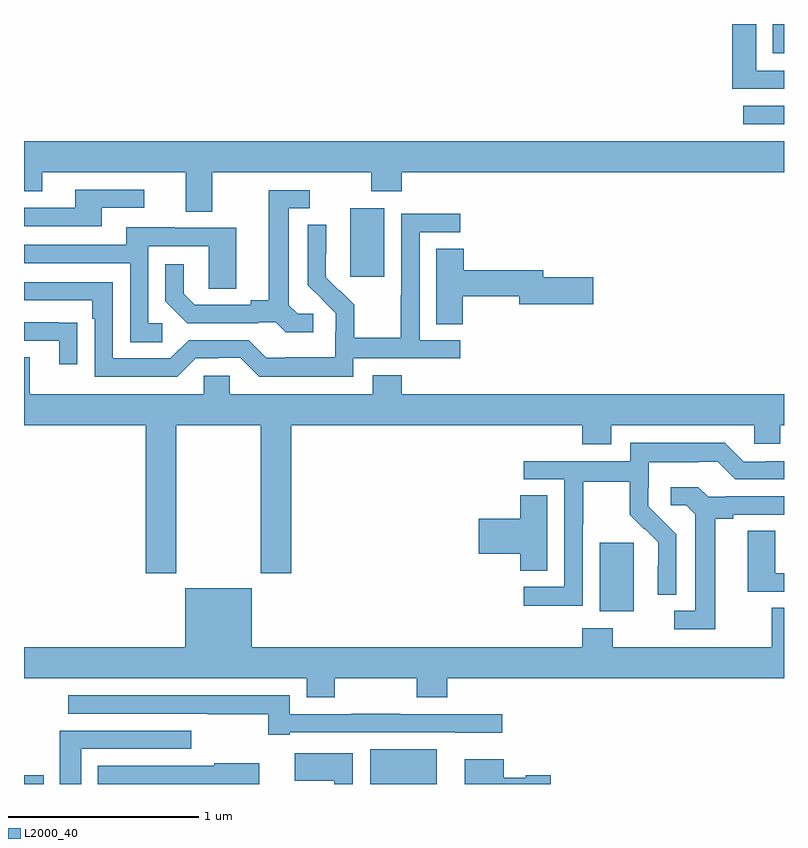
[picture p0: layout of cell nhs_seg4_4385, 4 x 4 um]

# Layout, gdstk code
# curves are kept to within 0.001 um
import gdstk
lib = gdstk.Library(unit=1e-6, precision=1e-09)
def R(c, l, rs):  # rectangles x0, y0, x1, y1
    for r in rs: c.add(gdstk.rectangle(r[:2], r[2:], *l))
def P(c, l, *ps):  # polygons
    for p in ps: c.add(gdstk.Polygon(p, *l))
L2000_40 = (2000, 40)

nhs_seg4_4385 = lib.new_cell('nhs_seg4_4385')
R(nhs_seg4_4385, L2000_40, [(345,826.9,345.103,826.946), (346.823,826.9,347.173,827.083), (348.029,827.81,348.208,828.171), (346.718,829.569,346.897,829.93), (348.786,830.373,349,830.469), (348.941,830.745,349,830.9)])
P(nhs_seg4_4385, L2000_40, [(349,830.655),(348.853,830.655),(348.853,830.9),(348.728,830.9),(348.728,830.559),(349,830.559)],
  [(345.991,830.12),(346.828,830.12),(346.828,830.021),(346.988,830.021),(346.988,830.12),(349,830.12),(349,830.284),(345,830.284),(345,830.021),(345.097,830.021),(345.097,830.12),(345.851,830.12),(345.851,829.912),(345.991,829.912)],
  [(345.409,829.932),(345.634,829.932),(345.634,830.028),(345.269,830.028),(345.269,829.932),(345,829.932),(345,829.836),(345.409,829.836)],
  [(346.522,829.374),(346.44,829.374),(346.393,829.421),(346.393,829.929),(346.504,829.929),(346.504,830.025),(346.289,830.025),(346.289,829.445),(346.193,829.445),(346.193,829.422),(345.898,829.422),(345.841,829.479),(345.841,829.636),(345.744,829.636),(345.744,829.442),(345.86,829.326),(346.232,829.326),(346.232,829.329),(346.326,829.329),(346.378,829.277),(346.522,829.277)],
  [(346.734,829.14),(347.296,829.14),(347.296,829.236),(347.082,829.236),(347.082,829.803),(347.296,829.803),(347.296,829.902),(346.986,829.902),(346.986,829.472),(346.984,829.472),(346.984,829.249),(346.739,829.249),(346.739,829.423),(346.662,829.5),(346.659,829.497),(346.589,829.568),(346.59,829.844),(346.494,829.844),(346.494,829.526),(346.64,829.378),(346.64,829.281),(346.638,829.281),(346.638,829.147),(346.375,829.147),(346.375,829.143),(346.275,829.143),(346.182,829.236),(345.867,829.236),(345.771,829.14),(345.468,829.14),(345.468,829.542),(345,829.542),(345,829.446),(345.359,829.446),(345.359,829.349),(345.372,829.349),(345.372,829.044),(345.807,829.044),(345.903,829.14),(346.022,829.14),(346.022,829.143),(346.137,829.143),(346.237,829.043),(346.734,829.043)],
  [(345.727,829.326),(345.654,829.326),(345.654,829.731),(345.972,829.731),(345.972,829.507),(346.117,829.507),(346.117,829.827),(345.793,829.827),(345.793,829.831),(345.539,829.831),(345.539,829.737),(345,829.737),(345,829.641),(345.558,829.641),(345.558,829.225),(345.727,829.225)],
  [(347.31,829.468),(347.606,829.468),(347.606,829.426),(347.995,829.426),(347.995,829.568),(347.734,829.568),(347.734,829.604),(347.315,829.604),(347.315,829.718),(347.171,829.718),(347.171,829.321),(347.31,829.321)],
  [(345.281,829.328),(345.179,829.328),(345.179,829.329),(345,829.329),(345,829.233),(345.185,829.233),(345.185,829.11),(345.281,829.11)],
  [(345.801,828.788),(346.246,828.788),(346.246,828.009),(346.406,828.009),(346.406,828.788),(347.939,828.788),(347.939,828.689),(348.091,828.689),(348.091,828.788),(348.843,828.788),(348.843,828.69),(348.981,828.69),(348.981,828.788),(349,828.788),(349,828.952),(346.988,828.952),(346.988,829.051),(346.835,829.051),(346.835,828.952),(346.083,828.952),(346.083,829.05),(345.945,829.05),(345.945,828.952),(345.031,828.952),(345.031,829.147),(345,829.147),(345,828.788),(345.641,828.788),(345.641,828.009),(345.801,828.009)],
  [(347.94,828.268),(347.943,828.268),(347.943,828.492),(348.187,828.492),(348.187,828.317),(348.264,828.24),(348.267,828.243),(348.338,828.173),(348.338,828.05),(348.336,828.05),(348.336,827.896),(348.432,827.896),(348.432,828.214),(348.286,828.362),(348.286,828.459),(348.288,828.459),(348.288,828.593),(348.551,828.593),(348.551,828.597),(348.651,828.597),(348.744,828.504),(349,828.504),(349,828.6),(348.905,828.6),(348.905,828.597),(348.789,828.597),(348.689,828.697),(348.192,828.697),(348.192,828.6),(347.631,828.6),(347.631,828.504),(347.844,828.504),(347.844,827.937),(347.631,827.937),(347.631,827.839),(347.94,827.839)],
  [(348.637,828.296),(348.733,828.296),(348.733,828.318),(349,828.318),(349,828.414),(348.694,828.414),(348.694,828.411),(348.6,828.411),(348.548,828.463),(348.405,828.463),(348.405,828.366),(348.486,828.366),(348.533,828.319),(348.533,827.811),(348.423,827.811),(348.423,827.715),(348.637,827.715)],
  [(347.755,828.419),(347.612,828.419),(347.612,828.296),(347.394,828.296),(347.394,828.113),(347.612,828.113),(347.612,828.022),(347.755,828.022)],
  [(349,828.009),(348.954,828.009),(348.954,828.233),(348.809,828.233),(348.809,827.913),(349,827.913)],
  [(346.635,827.456),(347.068,827.456),(347.068,827.357),(347.228,827.357),(347.228,827.456),(349,827.456),(349,827.828),(348.935,827.828),(348.935,827.62),(348.099,827.62),(348.099,827.719),(347.939,827.719),(347.939,827.62),(346.198,827.62),(346.198,827.929),(345.848,827.929),(345.848,827.62),(345,827.62),(345,827.456),(346.487,827.456),(346.487,827.357),(346.635,827.357)],
  [(346.399,827.172),(347.269,827.172),(347.269,827.171),(347.518,827.171),(347.518,827.268),(346.979,827.268),(346.979,827.27),(346.723,827.27),(346.723,827.268),(346.399,827.268),(346.399,827.367),(345.234,827.367),(345.234,827.271),(345.967,827.271),(345.967,827.266),(346.285,827.266),(346.285,827.16),(346.399,827.16)],
  [(345.301,827.085),(345.88,827.085),(345.88,827.181),(345.188,827.181),(345.188,826.9),(345.301,826.9)],
  [(346.731,827.062),(346.425,827.062),(346.425,826.916),(346.634,826.916),(346.634,826.9),(346.731,826.9)],
  [(347.773,826.946),(347.64,826.946),(347.64,826.933),(347.524,826.933),(347.524,827.029),(347.321,827.029),(347.321,826.9),(347.773,826.9)],
  [(346.237,827.008),(346.001,827.008),(346.001,826.995),(345.389,826.995),(345.389,826.9),(346.237,826.9)])

lib.write_gds('nhs_seg4_4385.gds')
